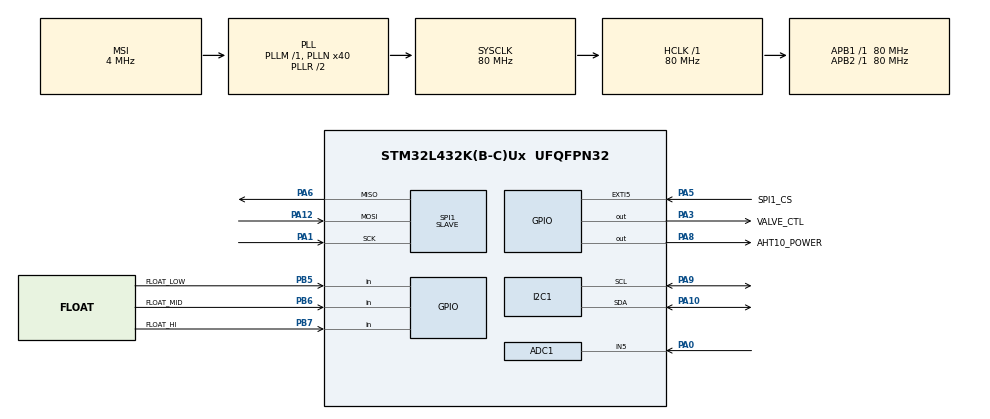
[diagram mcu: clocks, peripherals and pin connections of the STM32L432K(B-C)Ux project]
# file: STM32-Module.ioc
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ADC1.Channel-2\#ChannelRegularConversion=ADC_CHANNEL_5
ADC1.NbrOfConversionFlag=1
ADC1.OffsetNumber-2\#ChannelRegularConversion=ADC_OFFSET_NONE
ADC1.Rank-2\#ChannelRegularConversion=1
ADC1.SamplingTime-2\#ChannelRegularConversion=ADC_SAMPLETIME_2CYCLES_5
ADC1.master=1
FREERTOS.Tasks01=defaultTask,24,128,StartDefaultTask,Default,NULL,Dynamic,NULL,NULL
FREERTOS.configTOTAL_HEAP_SIZE=10000
FREERTOS.configUSE_NEWLIB_REENTRANT=1
I2C1.Timing=0x10D19CE4
Mcu.Family=STM32L4
Mcu.Name=STM32L432K(B-C)Ux
Mcu.Package=UFQFPN32
NVIC.EXTI9_5_IRQn=true\:5\:0\:false\:false\:true\:true\:true\:true\:true
NVIC.PriorityGroup=NVIC_PRIORITYGROUP_4
NVIC.TIM1_UP_TIM16_IRQn=true\:15\:0\:false\:false\:true\:false\:false\:true\:true
NVIC.TimeBase=TIM1_UP_TIM16_IRQn
NVIC.TimeBaseIP=TIM1
PA0.Signal=ADCx_IN5
PA1.Mode=Full_Duplex_Slave
PA1.Signal=SPI1_SCK
PA10.Mode=I2C
PA10.Signal=I2C1_SDA
PA12.Mode=Full_Duplex_Slave
PA12.Signal=SPI1_MOSI
PA3.GPIO_Label=VALVE_CTL
PA3.Signal=GPIO_Output
PA5.GPIO_Label=SPI1_CS
PA5.Signal=GPXTI5
PA6.Mode=Full_Duplex_Slave
PA6.Signal=SPI1_MISO
PA8.GPIO_Label=AHT10_POWER
PA8.Signal=GPIO_Output
PA9.Mode=I2C
PA9.Signal=I2C1_SCL
PB5.GPIO_Label=FLOAT_LOW
PB5.GPIO_PuPd=GPIO_PULLDOWN
PB5.Signal=GPIO_Input
PB6.GPIO_Label=FLOAT_MID
PB6.GPIO_PuPd=GPIO_PULLDOWN
PB6.Signal=GPIO_Input
PB7.GPIO_Label=FLOAT_HI
PB7.GPIO_PuPd=GPIO_PULLDOWN
PB7.Signal=GPIO_Input
ProjectManager.HeapSize=0x200
ProjectManager.StackSize=0x400
ProjectManager.TargetToolchain=STM32CubeIDE
RCC.ADCFreq_Value=32000000
RCC.AHBFreq_Value=80000000
RCC.APB1Freq_Value=80000000
RCC.APB1TimFreq_Value=80000000
RCC.APB2Freq_Value=80000000
RCC.APB2TimFreq_Value=80000000
RCC.CortexFreq_Value=80000000
RCC.HCLKFreq_Value=80000000
RCC.HSE_VALUE=8000000
RCC.HSI48_VALUE=48000000
RCC.HSI_VALUE=16000000
RCC.LSE_VALUE=32768
RCC.MSI_VALUE=4000000
RCC.PLLN=40
RCC.PLLSAI1N=16
RCC.SYSCLKFreq_VALUE=80000000
RCC.SYSCLKSource=RCC_SYSCLKSOURCE_PLLCLK
RCC.USBFreq_Value=32000000
RCC.VCOOutputFreq_Value=160000000
SH.ADCx_IN5.0=ADC1_IN5,IN5-Single-Ended
SPI1.DataSize=SPI_DATASIZE_8BIT
SPI1.Direction=SPI_DIRECTION_2LINES
SPI1.Mode=SPI_MODE_SLAVE
SPI1.VirtualType=VM_SLAVE
VP_FREERTOS_VS_CMSIS_V2.Mode=CMSIS_V2
VP_SYS_VS_tim1.Mode=TIM1
board=custom

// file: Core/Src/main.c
/* USER CODE BEGIN Header */
/**
  ******************************************************************************
  * @file           : main.c
  * @brief          : Main program body
  ******************************************************************************
  * @attention
  *
  * Copyright (c) 2025 STMicroelectronics.
  * All rights reserved.
  *
  * This software is licensed under terms that can be found in the LICENSE file
  * in the root directory of this software component.
  * If no LICENSE file comes with this software, it is provided AS-IS.
  *
  ******************************************************************************
  */
/* USER CODE END Header */
#include "main.h"
#include "cmsis_os.h"

/* USER CODE BEGIN Includes */
#include "headers_and_defines.h"
/* USER CODE END Includes */

ADC_HandleTypeDef hadc1;

I2C_HandleTypeDef hi2c1;

SPI_HandleTypeDef hspi1;

/* Definitions for defaultTask */
osThreadId_t defaultTaskHandle;
const osThreadAttr_t defaultTask_attributes = {
  .name = "defaultTask",
  .stack_size = 128 * 4,
  .priority = (osPriority_t) osPriorityNormal,
};
/* USER CODE BEGIN PV */
Aht10_HandleTypeDef aht10;
FloatSensor_HandleTypeDef hi_float_sensor;
FloatSensor_HandleTypeDef mid_float_sensor;
FloatSensor_HandleTypeDef low_float_sensor;
SoilMoistSensor_HandleTypeDef soil_moisture_sensor;
Solenoid_HandleTypeDef water_valve;
Esp32_SpiHandle esp32_module;
I2cSensors_HandleTypeDef i2c_sensors;
GpioSensors_HandleTypeDef gpio_sensors;
uint8_t sys_flags = 0x00;
Stm32State_TypeDef stm32_state;
/* USER CODE END PV */

void SystemClock_Config(void);
static void MX_GPIO_Init(void);
static void MX_I2C1_Init(void);
static void MX_ADC1_Init(void);
static void MX_SPI1_Init(void);
void StartDefaultTask(void *argument);

/* USER CODE BEGIN PFP */
HAL_StatusTypeDef Initialize_AHT10(void);
HAL_StatusTypeDef Initialize_FloatSensors(void);
HAL_StatusTypeDef Initialize_SoilMoistureSensor(void);
HAL_StatusTypeDef Initialize_WaterValve(void);
HAL_StatusTypeDef Initialize_Esp32Module(void);
HAL_StatusTypeDef Initialize_SensorTasks(void);
/* USER CODE END PFP */

int main(void)
{

  /* MCU Configuration--------------------------------------------------------*/

  /* Reset of all peripherals, Initializes the Flash interface and the Systick. */
  HAL_Init();

  /* Configure the system clock */
  SystemClock_Config();

  /* Initialize all configured peripherals */
  MX_GPIO_Init();
  MX_I2C1_Init();
  MX_ADC1_Init();
  MX_SPI1_Init();
  /* USER CODE BEGIN 2 */
  state_machine_init(&stm32_state);

  if (Initialize_AHT10() != HAL_OK) {
	  // Show error somehow
  }

  if (Initialize_FloatSensors() != HAL_OK) {
	  // Show error somehow
  }

  if (Initialize_SoilMoistureSensor() != HAL_OK) {
	  // Show error somehow
  }

  if (Initialize_WaterValve() != HAL_OK) {
	  // Show error somehow
  }

  if (Initialize_SensorTasks() != HAL_OK) {
	  // Show error somehow
  }

  if (Initialize_Esp32Module() != HAL_OK) {
	  // Show error somehow
  }

  state_machine_update_state(&stm32_state, STM32_IDLE);

  /* USER CODE END 2 */

  /* Init scheduler */
  osKernelInitialize();

  /* Create the thread(s) */
  /* creation of defaultTask */
  defaultTaskHandle = osThreadNew(StartDefaultTask, NULL, &defaultTask_attributes);

  /* USER CODE BEGIN RTOS_THREADS */
  /* add threads, ... */
  //i2cDataTaskHandle = osThreadNew(sensor_tasks_get_i2c_data, (void*)&i2c_sensors, &)
  /* USER CODE END RTOS_THREADS */

  /* Start scheduler */
  osKernelStart();

  /* We should never get here as control is now taken by the scheduler */

  /* Infinite loop */
  while (1)
  {

  }
}

void SystemClock_Config(void)
{
  RCC_OscInitTypeDef RCC_OscInitStruct = {0};
  RCC_ClkInitTypeDef RCC_ClkInitStruct = {0};

  /** Configure the main internal regulator output voltage
  */
  if (HAL_PWREx_ControlVoltageScaling(PWR_REGULATOR_VOLTAGE_SCALE1) != HAL_OK)
  {
    Error_Handler();
  }

  /** Initializes the RCC Oscillators according to the specified parameters
  * in the RCC_OscInitTypeDef structure.
  */
  RCC_OscInitStruct.OscillatorType = RCC_OSCILLATORTYPE_MSI;
  RCC_OscInitStruct.MSIState = RCC_MSI_ON;
  RCC_OscInitStruct.MSICalibrationValue = 0;
  RCC_OscInitStruct.MSIClockRange = RCC_MSIRANGE_6;
  RCC_OscInitStruct.PLL.PLLState = RCC_PLL_ON;
  RCC_OscInitStruct.PLL.PLLSource = RCC_PLLSOURCE_MSI;
  RCC_OscInitStruct.PLL.PLLM = 1;
  RCC_OscInitStruct.PLL.PLLN = 40;
  RCC_OscInitStruct.PLL.PLLP = RCC_PLLP_DIV7;
  RCC_OscInitStruct.PLL.PLLQ = RCC_PLLQ_DIV2;
  RCC_OscInitStruct.PLL.PLLR = RCC_PLLR_DIV2;
  if (HAL_RCC_OscConfig(&RCC_OscInitStruct) != HAL_OK)
  {
    Error_Handler();
  }

  /** Initializes the CPU, AHB and APB buses clocks
  */
  RCC_ClkInitStruct.ClockType = RCC_CLOCKTYPE_HCLK|RCC_CLOCKTYPE_SYSCLK
                              |RCC_CLOCKTYPE_PCLK1|RCC_CLOCKTYPE_PCLK2;
  RCC_ClkInitStruct.SYSCLKSource = RCC_SYSCLKSOURCE_PLLCLK;
  RCC_ClkInitStruct.AHBCLKDivider = RCC_SYSCLK_DIV1;
  RCC_ClkInitStruct.APB1CLKDivider = RCC_HCLK_DIV1;
  RCC_ClkInitStruct.APB2CLKDivider = RCC_HCLK_DIV1;

  if (HAL_RCC_ClockConfig(&RCC_ClkInitStruct, FLASH_LATENCY_4) != HAL_OK)
  {
    Error_Handler();
  }
}

static void MX_ADC1_Init(void)
{

  ADC_ChannelConfTypeDef sConfig = {0};

  /** Common config
  */
  hadc1.Instance = ADC1;
  hadc1.Init.ClockPrescaler = ADC_CLOCK_ASYNC_DIV1;
  hadc1.Init.Resolution = ADC_RESOLUTION_12B;
  hadc1.Init.DataAlign = ADC_DATAALIGN_RIGHT;
  hadc1.Init.ScanConvMode = ADC_SCAN_DISABLE;
  hadc1.Init.EOCSelection = ADC_EOC_SINGLE_CONV;
  hadc1.Init.LowPowerAutoWait = DISABLE;
  hadc1.Init.ContinuousConvMode = DISABLE;
  hadc1.Init.NbrOfConversion = 1;
  hadc1.Init.DiscontinuousConvMode = DISABLE;
  hadc1.Init.ExternalTrigConv = ADC_SOFTWARE_START;
  hadc1.Init.ExternalTrigConvEdge = ADC_EXTERNALTRIGCONVEDGE_NONE;
  hadc1.Init.DMAContinuousRequests = DISABLE;
  hadc1.Init.Overrun = ADC_OVR_DATA_PRESERVED;
  hadc1.Init.OversamplingMode = DISABLE;
  if (HAL_ADC_Init(&hadc1) != HAL_OK)
  {
    Error_Handler();
  }

  /** Configure Regular Channel
  */
  sConfig.Channel = ADC_CHANNEL_5;
  sConfig.Rank = ADC_REGULAR_RANK_1;
  sConfig.SamplingTime = ADC_SAMPLETIME_2CYCLES_5;
  sConfig.SingleDiff = ADC_SINGLE_ENDED;
  sConfig.OffsetNumber = ADC_OFFSET_NONE;
  sConfig.Offset = 0;
  if (HAL_ADC_ConfigChannel(&hadc1, &sConfig) != HAL_OK)
  {
    Error_Handler();
  }

}

static void MX_I2C1_Init(void)
{

  hi2c1.Instance = I2C1;
  hi2c1.Init.Timing = 0x10D19CE4;
  hi2c1.Init.OwnAddress1 = 0;
  hi2c1.Init.AddressingMode = I2C_ADDRESSINGMODE_7BIT;
  hi2c1.Init.DualAddressMode = I2C_DUALADDRESS_DISABLE;
  hi2c1.Init.OwnAddress2 = 0;
  hi2c1.Init.OwnAddress2Masks = I2C_OA2_NOMASK;
  hi2c1.Init.GeneralCallMode = I2C_GENERALCALL_DISABLE;
  hi2c1.Init.NoStretchMode = I2C_NOSTRETCH_DISABLE;
  if (HAL_I2C_Init(&hi2c1) != HAL_OK)
  {
    Error_Handler();
  }

  /** Configure Analogue filter
  */
  if (HAL_I2CEx_ConfigAnalogFilter(&hi2c1, I2C_ANALOGFILTER_ENABLE) != HAL_OK)
  {
    Error_Handler();
  }

  /** Configure Digital filter
  */
  if (HAL_I2CEx_ConfigDigitalFilter(&hi2c1, 0) != HAL_OK)
  {
    Error_Handler();
  }

}

static void MX_SPI1_Init(void)
{

  /* SPI1 parameter configuration*/
  hspi1.Instance = SPI1;
  hspi1.Init.Mode = SPI_MODE_SLAVE;
  hspi1.Init.Direction = SPI_DIRECTION_2LINES;
  hspi1.Init.DataSize = SPI_DATASIZE_8BIT;
  hspi1.Init.CLKPolarity = SPI_POLARITY_LOW;
  hspi1.Init.CLKPhase = SPI_PHASE_1EDGE;
  hspi1.Init.NSS = SPI_NSS_SOFT;
  hspi1.Init.FirstBit = SPI_FIRSTBIT_MSB;
  hspi1.Init.TIMode = SPI_TIMODE_DISABLE;
  hspi1.Init.CRCCalculation = SPI_CRCCALCULATION_DISABLE;
  hspi1.Init.CRCPolynomial = 7;
  hspi1.Init.CRCLength = SPI_CRC_LENGTH_DATASIZE;
  hspi1.Init.NSSPMode = SPI_NSS_PULSE_DISABLE;
  if (HAL_SPI_Init(&hspi1) != HAL_OK)
  {
    Error_Handler();
  }

}

static void MX_GPIO_Init(void)
{
  GPIO_InitTypeDef GPIO_InitStruct = {0};

  /* GPIO Ports Clock Enable */
  __HAL_RCC_GPIOA_CLK_ENABLE();
  __HAL_RCC_GPIOB_CLK_ENABLE();

  /*Configure GPIO pin Output Level */
  HAL_GPIO_WritePin(GPIOA, VALVE_CTL_Pin|AHT10_POWER_Pin, GPIO_PIN_RESET);

  /*Configure GPIO pins : VALVE_CTL_Pin AHT10_POWER_Pin */
  GPIO_InitStruct.Pin = VALVE_CTL_Pin|AHT10_POWER_Pin;
  GPIO_InitStruct.Mode = GPIO_MODE_OUTPUT_PP;
  GPIO_InitStruct.Pull = GPIO_NOPULL;
  GPIO_InitStruct.Speed = GPIO_SPEED_FREQ_LOW;
  HAL_GPIO_Init(GPIOA, &GPIO_InitStruct);

  /*Configure GPIO pin : SPI1_CS_Pin */
  GPIO_InitStruct.Pin = SPI1_CS_Pin;
  GPIO_InitStruct.Mode = GPIO_MODE_IT_RISING;
  GPIO_InitStruct.Pull = GPIO_NOPULL;
  HAL_GPIO_Init(SPI1_CS_GPIO_Port, &GPIO_InitStruct);

  /*Configure GPIO pins : FLOAT_LOW_Pin FLOAT_MID_Pin FLOAT_HI_Pin */
  GPIO_InitStruct.Pin = FLOAT_LOW_Pin|FLOAT_MID_Pin|FLOAT_HI_Pin;
  GPIO_InitStruct.Mode = GPIO_MODE_INPUT;
  GPIO_InitStruct.Pull = GPIO_PULLDOWN;
  HAL_GPIO_Init(GPIOB, &GPIO_InitStruct);

  /* EXTI interrupt init*/
  HAL_NVIC_SetPriority(EXTI9_5_IRQn, 5, 0);
  HAL_NVIC_EnableIRQ(EXTI9_5_IRQn);

}

/* USER CODE BEGIN 4 */
HAL_StatusTypeDef Initialize_AHT10(void) {
	HAL_StatusTypeDef status = aht10_open(&aht10, &hi2c1, OS_MODE);

	if (status != HAL_OK) {
		return status;
	}

	status = aht10_init(&aht10, AHT10_POWER_GPIO_Port, AHT10_POWER_Pin, AHT10_DEFAULT_UNITS);

	return status;
}

HAL_StatusTypeDef Initialize_FloatSensors(void) {
	HAL_StatusTypeDef status = float_sensor_init(&hi_float_sensor, FLOAT_HI_GPIO_Port, FLOAT_HI_Pin);

	if (status != HAL_OK) {
		return status;
	}

	status = float_sensor_init(&mid_float_sensor, FLOAT_MID_GPIO_Port, FLOAT_MID_Pin);

	if (status != HAL_OK) {
		return status;
	}

	status = float_sensor_init(&low_float_sensor, FLOAT_LOW_GPIO_Port, FLOAT_LOW_Pin);

	return status;
}

HAL_StatusTypeDef Initialize_SoilMoistureSensor(void) {
	HAL_StatusTypeDef status = soil_moisture_sensor_init(&soil_moisture_sensor, &hadc1);

	return status;
}

HAL_StatusTypeDef Initialize_WaterValve(void) {
	HAL_StatusTypeDef status = solenoid_init(&water_valve, VALVE_CTL_GPIO_Port, VALVE_CTL_Pin, SOLENOID_DEFAULT_STATUS);

	return status;
}

HAL_StatusTypeDef Initialize_Esp32Module(void) {
	HAL_StatusTypeDef status = init_esp32_spihandle(&esp32_module, &hspi1, SPI1_CS_Pin);

	return status;
}

HAL_StatusTypeDef Initialize_SensorTasks(void) {
	HAL_StatusTypeDef status = sensor_tasks_init_i2c_Sensors(&i2c_sensors, &aht10, &soil_moisture_sensor, &sys_flags);

	if (status != HAL_OK) {
		return status;
	}

	status = sensor_tasks_init_gpio_sensors(&gpio_sensors,
			&hi_float_sensor,
			&mid_float_sensor,
			&low_float_sensor,
			&water_valve,
			&sys_flags);

	if (status != HAL_OK) {
		return status;
	}

	return status;
}

void HAL_GPIO_EXTI_Callback(uint16_t GPIO_Pin) {
	switch (GPIO_Pin) {
		case SPI1_CS_Pin:
			void state_machine_spi_interrupt(Stm32State_TypeDef* stm32_state, uint8_t* sys_flags);
			break;
		default:
			break;
	}
}
/* USER CODE END 4 */

void StartDefaultTask(void *argument)
{
  /* USER CODE BEGIN 5 */
	sensor_tasks_start_all_tasks(&i2c_sensors, &gpio_sensors);
  /* Infinite loop */
  for(;;)
  {
    osDelay(1);
  }
  /* USER CODE END 5 */
}

void HAL_TIM_PeriodElapsedCallback(TIM_HandleTypeDef *htim)
{
  if (htim->Instance == TIM1) {
    HAL_IncTick();
  }
}

void Error_Handler(void)
{
  __disable_irq();
  while (1)
  {
  }
}
